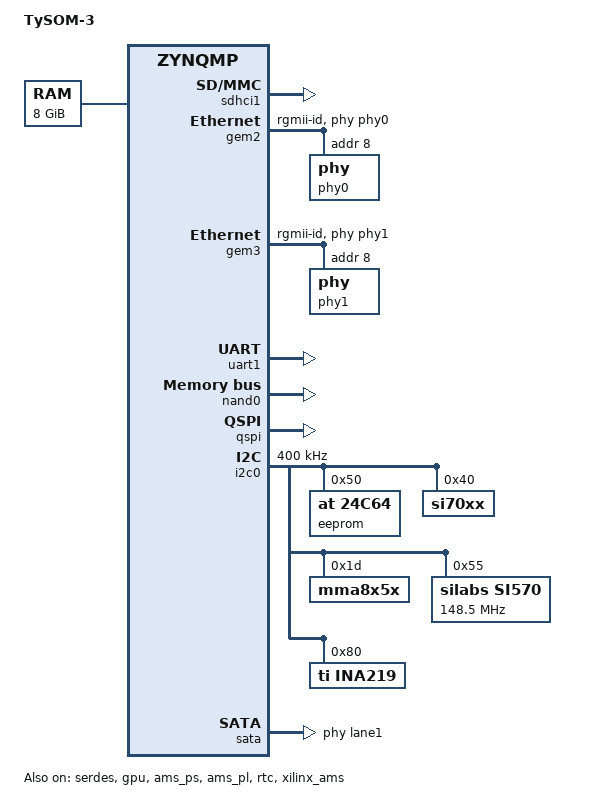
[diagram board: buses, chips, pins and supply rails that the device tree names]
/*
* Aldec TySOM-3-ZU7 board DTS
*
* Copyright (C) 2016 Aldec, Inc.
*
* SPDX-License-Identifier:	GPL-2.0+
*/

/dts-v1/;

#include "zynqmp.dtsi"
#include "zynqmp-clk-ccf.dtsi"
#include <dt-bindings/gpio/gpio.h>
#include <dt-bindings/pinctrl/pinctrl-zynqmp.h>
#include <dt-bindings/phy/phy.h>

/ {
    model = "TySOM-3";
    compatible = "aldec,zynqmp-tysom-3", "xlnx,zynqmp";

    aliases {
        ethernet0 = &gem2;
        ethernet1 = &gem3;
        serial0 = &uart1;
        mmc0 = &sdhci1;
        i2c0 = &i2c0;
        spi0 = &qspi;
    };

    chosen {
        bootargs = "earlycon clk_ignore_unused";
        stdout-path = "serial0:115200n8";
    };

    memory@0 {
        device_type = "memory";
        reg = <0x0 0x0 0x0 0x7ff00000>, <0x00000008 0x00000000 0x00000001 0x80000000>;
    };

};


&sdhci0 {
    status = "disabled";
    clock-frequency = <100000000>;
    xlnx,mio_bank = <0x1>;
    no-1-8-v;

};

&sdhci1 {
    status = "okay";
    clock-frequency = <100000000>;
    xlnx,mio_bank = <0x1>;
    no-1-8-v;
};

&gem2 {
    status = "okay";
    phy-handle = <&phy0>;
    phy-mode = "rgmii-id";
    phy-reset-gpio = <&gpio 10 1>;
    phy-reset-duration = <2>;
    phy-reset-active-low = <1>;

    phy0: phy@8 {
        device_type = "ethernet-phy";
        reg = <0x8>;
        ti,rx-internal-delay = <0x8>;
        ti,tx-internal-delay = <0xa>;
        ti,fifo-depth = <0x1>;
    };
};

&gem3 {
    status = "okay";
    phy-handle = <&phy1>;
    phy-mode = "rgmii-id";
    phy-reset-gpio = <&gpio 11 1>;
    phy-reset-duration = <2>;
    phy-reset-active-low = <1>;

    phy1: phy@8 {
        device_type = "ethernet-phy";
        reg = <0x8>;
        ti,rx-internal-delay = <0x8>;
        ti,tx-internal-delay = <0xa>;
        ti,fifo-depth = <0x1>;
    };
};

&gpio {
    emio-gpio-width = <32>;
    gpio-mask-high = <0x0>;
    gpio-mask-low = <0x5600>;
    status = "okay";
};

&uart1 {
    device_type = "serial";
    port-number = <0>;
    status = "okay";
    u-boot,dm-pre-reloc ;
};

&serdes {
    status = "okay";
};

&gpu {
    status = "okay";
};

&ams_ps {
    status = "okay";
};
&ams_pl {
    status = "okay";
};

&pss_ref_clk {
    clock-frequency = <50000000>;
};

&pinctrl0 {
    status = "okay";
};
&rtc {
    status = "okay";
};

&nand0 {
    u-boot,dm-pre-reloc;
    status = "okay";
};

&qspi {
    u-boot,dm-pre-reloc;
    status = "okay";
};


&lpd_dma_chan1 {
    status = "okay";
};
&lpd_dma_chan2 {
    status = "okay";
};
&lpd_dma_chan3 {
    status = "okay";
};
&lpd_dma_chan4 {
    status = "okay";
};
&lpd_dma_chan5 {
    status = "okay";
};
&lpd_dma_chan6 {
    status = "okay";
};
&lpd_dma_chan7 {
    status = "okay";
};
&lpd_dma_chan8 {
    status = "okay";
};
&xilinx_ams {
    status = "okay";
};
&fpd_dma_chan1 {
    status = "okay";
};
&fpd_dma_chan2 {
    status = "okay";
};
&fpd_dma_chan3 {
    status = "okay";
};
&fpd_dma_chan4 {
    status = "okay";
};
&fpd_dma_chan5 {
    status = "okay";
};
&fpd_dma_chan6 {
    status = "okay";
};
&fpd_dma_chan7 {
    status = "okay";
};
&fpd_dma_chan8 {
    status = "okay";
};

&i2c0 {
    clock-frequency = <400000>;
    status = "okay";

    eeprom@50 {
                compatible = "at,24c64";
                reg = <0x50>;
        };

    si70xx: si70xx@40 {
                compatible = "si70xx";
                reg = <0x40>;
        };

    mma8x5x: mma8x5x@1d {
                compatible = "mma8x5x";
                reg = <0x1d>;
        };

    si570: clock-generator@55 {
                #clock-cells = <0>;
                compatible = "silabs,si570";
                reg = <0x55>;
                temperature-stability = <50>;
                factory-fout = <156250000>;
                clock-frequency = <148500000>;
            };

    ina219@80 {
        compatible = "ti,ina219";
        reg = <0x80>;
        shunt-resistor = <2>;
        };
};

&sata {
    ceva,p0-burst-params = "/bits/ 8 <0x13 0x08 0x4A 0x06>";
    ceva,p0-cominit-params = "/bits/ 8 <0x18 0x40 0x18 0x28>";
    ceva,p0-comwake-params = "/bits/ 8 <0x06 0x14 0x08 0x0E>";
    ceva,p0-retry-params = "/bits/ 16 <0x96A4 0x3FFC>";

    ceva,p1-burst-params = "/bits/ 8 <0x13 0x08 0x4A 0x06>";
    ceva,p1-cominit-params = "/bits/ 8 <0x18 0x40 0x18 0x28>";
    ceva,p1-comwake-params = "/bits/ 8 <0x06 0x14 0x08 0x0E>";
    ceva,p1-retry-params = "/bits/ 16 <0x96A4 0x3FFC>";
    status = "okay";
    phy-names = "sata-phy";
    phys = <&lane1 1 1 1 150000000>;
};
